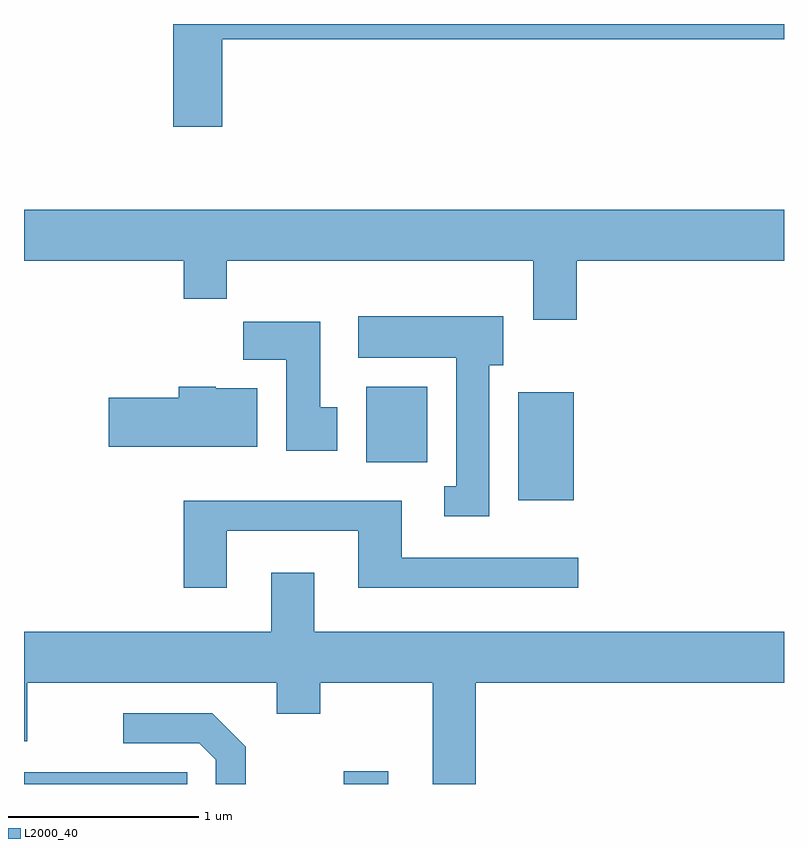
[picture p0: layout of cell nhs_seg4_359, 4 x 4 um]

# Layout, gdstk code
import gdstk
lib = gdstk.Library(unit=1e-6, precision=1e-09)
def R(c, l, rs):  # rectangles x0, y0, x1, y1
    for r in rs: c.add(gdstk.rectangle(r[:2], r[2:], *l))
def P(c, l, *ps):  # polygons
    for p in ps: c.add(gdstk.Polygon(p, *l))
L2000_40 = (2000, 40)

nhs_seg4_359 = lib.new_cell('nhs_seg4_359')
R(nhs_seg4_359, L2000_40, [(195.611,1291.982,196.469,1292.044), (197.293,1291.982,197.529,1292.049), (198.211,1293.476,198.504,1294.044), (197.411,1293.676,197.734,1294.074)])
P(nhs_seg4_359, L2000_40, [(196.654,1295.901),(199.611,1295.901),(199.611,1295.982),(196.396,1295.982),(196.396,1295.441),(196.654,1295.441)],
  [(198.519,1294.736),(199.611,1294.736),(199.611,1295.004),(195.611,1295.004),(195.611,1294.736),(196.451,1294.736),(196.451,1294.536),(196.679,1294.536),(196.679,1294.736),(198.291,1294.736),(198.291,1294.426),(198.519,1294.426)],
  [(198.059,1294.186),(198.134,1294.186),(198.134,1294.444),(197.371,1294.444),(197.371,1294.226),(197.886,1294.226),(197.886,1293.549),(197.823,1293.549),(197.823,1293.391),(198.059,1293.391)],
  [(197.259,1293.964),(197.169,1293.964),(197.169,1294.414),(196.766,1294.414),(196.766,1294.216),(196.991,1294.216),(196.991,1293.736),(197.259,1293.736)],
  [(196.839,1294.064),(196.62,1294.064),(196.62,1294.074),(196.426,1294.074),(196.426,1294.014),(196.056,1294.014),(196.056,1293.756),(196.839,1293.756)],
  [(196.679,1293.316),(197.371,1293.316),(197.371,1293.016),(198.528,1293.016),(198.528,1293.174),(197.599,1293.174),(197.599,1293.474),(196.451,1293.474),(196.451,1293.016),(196.679,1293.016)],
  [(197.989,1292.516),(199.611,1292.516),(199.611,1292.784),(197.139,1292.784),(197.139,1293.094),(196.911,1293.094),(196.911,1292.784),(195.611,1292.784),(195.611,1292.206),(195.629,1292.206),(195.629,1292.516),(196.941,1292.516),(196.941,1292.351),(197.169,1292.351),(197.169,1292.516),(197.761,1292.516),(197.761,1291.982),(197.989,1291.982)],
  [(196.779,1292.177),(196.602,1292.354),(196.133,1292.354),(196.133,1292.196),(196.534,1292.196),(196.621,1292.109),(196.621,1291.982),(196.779,1291.982)])

lib.write_gds('nhs_seg4_359.gds')
